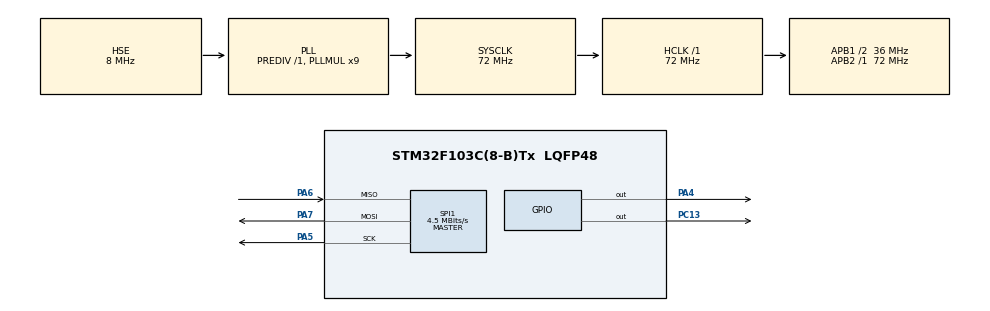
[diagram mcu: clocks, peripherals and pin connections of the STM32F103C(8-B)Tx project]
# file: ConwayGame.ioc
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Mcu.Family=STM32F1
RCC.PLLSourceVirtual=RCC_PLLSOURCE_HSE
PA6.Mode=Full_Duplex_Master
FREERTOS.Tasks01=defaultTask,24,128,StartDefaultTask,Default,NULL,Dynamic,NULL,NULL
PA7.Mode=Full_Duplex_Master
PD1-OSC_OUT.Mode=HSE-External-Oscillator
SPI1.VirtualType=VM_MASTER
PC13-TAMPER-RTC.Signal=GPIO_Output
NVIC.TIM1_UP_IRQn=true\:0\:0\:false\:false\:true\:false\:false\:true
PD0-OSC_IN.Signal=RCC_OSC_IN
RCC.APB1CLKDivider=RCC_HCLK_DIV2
RCC.SYSCLKSource=RCC_SYSCLKSOURCE_PLLCLK
ProjectManager.StackSize=0x400
VP_FREERTOS_VS_CMSIS_V2.Mode=CMSIS_V2
PD1-OSC_OUT.Signal=RCC_OSC_OUT
PA13.Signal=SYS_JTMS-SWDIO
ProjectManager.TargetToolchain=STM32CubeIDE
SPI1.Direction=SPI_DIRECTION_2LINES
RCC.HCLKFreq_Value=72000000
RCC.APB2TimFreq_Value=72000000
SPI1.CalculateBaudRate=4.5 MBits/s
RCC.USBFreq_Value=72000000
RCC.AHBFreq_Value=72000000
PD0-OSC_IN.Mode=HSE-External-Oscillator
PA5.Signal=SPI1_SCK
board=custom
RCC.PLLMUL=RCC_PLL_MUL9
RCC.APB2Freq_Value=72000000
SPI1.Mode=SPI_MODE_MASTER
PA14.Mode=Serial_Wire
VP_SYS_VS_tim1.Mode=TIM1
SPI1.DataSize=SPI_DATASIZE_16BIT
PA13.Mode=Serial_Wire
Mcu.Name=STM32F103C(8-B)Tx
FREERTOS.configTOTAL_HEAP_SIZE=4096
PA4.Signal=GPIO_Output
RCC.SYSCLKFreq_VALUE=72000000
Mcu.Package=LQFP48
PA6.Signal=SPI1_MISO
NVIC.TimeBase=TIM1_UP_IRQn
NVIC.TimeBaseIP=TIM1
PA14.Signal=SYS_JTCK-SWCLK
ProjectManager.HeapSize=0x200
NVIC.PriorityGroup=NVIC_PRIORITYGROUP_4
RCC.APB1TimFreq_Value=72000000
RCC.APB1Freq_Value=36000000
SPI1.BaudRatePrescaler=SPI_BAUDRATEPRESCALER_16
PA5.Mode=Full_Duplex_Master
PA7.Signal=SPI1_MOSI

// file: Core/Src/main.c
/* USER CODE BEGIN Header */
/**
 ******************************************************************************
 * @file           : main.c
 * @brief          : Main program body
 ******************************************************************************
 * @attention
 *
 * <h2><center>&copy; Copyright (c) 2021 STMicroelectronics.
 * All rights reserved.</center></h2>
 *
 * This software component is licensed by ST under BSD 3-Clause license,
 * the "License"; You may not use this file except in compliance with the
 * License. You may obtain a copy of the License at:
 *                        opensource.org/licenses/BSD-3-Clause
 *
 ******************************************************************************
 */
/* USER CODE END Header */

#include "main.h"
#include "cmsis_os.h"
#include "FreeRTOS.h"
#include "task.h"
#include "max7219.h"
#include "logic.h"
#include "semphr.h"

SPI_HandleTypeDef hspi1;

uint8_t present[8];
uint8_t future[8];

//osThreadId_t defaultTaskHandle;
/* USER CODE BEGIN PV */
SemaphoreHandle_t sem_start;
SemaphoreHandle_t sem_next;

/* USER CODE END PV */

void SystemClock_Config(void);
static void MX_GPIO_Init(void);
static void MX_SPI1_Init(void);
void StartDefaultTask(void *argument);

/* USER CODE BEGIN 0 */
uint8_t compare(uint8_t *p, uint8_t *f) {
	uint8_t i = 0;
	uint8_t eq = 1;
	for (i = 0; i < 8; i++) {
		if (p[i] != f[i]) {
			eq = 0;
		}
		p[i] = f[i];		//Actualizo el estado
	}
	return (eq);			//Invierto para tener logica +
}
void tarea_generar_estado_inicial(void *p) {
	uint8_t q = 0;
	for (q = 0; q < 8; q++)
		present[q] = (xor32() & 0xFF);

	for (;;) {
		xSemaphoreGive(sem_start);
		if (xSemaphoreTake( sem_next, portMAX_DELAY) == pdTRUE) {
			if (compare(present, future)) {
				for (q = 0; q < 8; q++)
					present[q] = (xor32() & 0xFF);
			}
		}

		vTaskDelay(1 / portTICK_RATE_MS);
	}
}
/*
 * Por los semaforos me aseguro que:
 * --> La 1° evolución ocurra luego de generar el numero aleatorio
 * --> Evoluciono después de comparar
 * --> Comparo después de evolucionar
 *
 * Con eso ya me alcanza porque cuando muero
 * Lo último que hice fue comparar, ahí genero mi nuevo numero aleatorio
 * Y evoluciono después de comparar
 */
void tarea_evolucionar_estado(void *p) {
	uint8_t q = 0;
	portTickType xLastWakeTime;
	xLastWakeTime = xTaskGetTickCount();

	for (;;) {
		//xSemaphoreGive(sem_next);
		if (xSemaphoreTake( sem_start, portMAX_DELAY) == pdTRUE) {
			conway(present, future);
			for (q = 0; q < 8; q++){
				dibujar_max7219(present);
				dibujar_max7219(present);
				dibujar_max7219(present);
				dibujar_max7219(present);
			}
			xSemaphoreGive(sem_next);	// Aviso que compare

			vTaskDelayUntil(&xLastWakeTime, 500 / portTICK_RATE_MS);
		}
	}
}
/* USER CODE END 0 */

int main(void) {

	/* MCU Configuration--------------------------------------------------------*/

	/* Reset of all peripherals, Initializes the Flash interface and the Systick. */
	HAL_Init();

	/* Configure the system clock */
	SystemClock_Config();

	/* Initialize all configured peripherals */
	MX_GPIO_Init();
	MX_SPI1_Init();
	/* USER CODE BEGIN 2 */
	inicializar_max7219(&hspi1, GPIOA, GPIO_PIN_4); // Inicializo la matriz
	/* USER CODE END 2 */

	osKernelInitialize();

	/* USER CODE BEGIN RTOS_SEMAPHORES */
	/* add semaphores, ... */
	sem_start = xSemaphoreCreateBinary();
	sem_next = xSemaphoreCreateBinary();
	/* USER CODE END RTOS_SEMAPHORES */

	/* Create the thread(s) */

	xTaskCreate(tarea_evolucionar_estado, "evolucionar",
	configMINIMAL_STACK_SIZE, NULL,
	tskIDLE_PRIORITY + 1,
	NULL);
	xTaskCreate(tarea_generar_estado_inicial, "generar",
	configMINIMAL_STACK_SIZE, NULL,
	tskIDLE_PRIORITY + 1,
	NULL);
	/* definition and creation of defaultTask */
//  const osThreadAttr_t defaultTask_attributes = {
//    .name = "defaultTask",
//    .priority = (osPriority_t) osPriorityNormal,
//    .stack_size = 128
//  };
//  defaultTaskHandle = osThreadNew(StartDefaultTask, NULL, &defaultTask_attributes);

	/* Start scheduler */
	osKernelStart();

	/* We should never get here as control is now taken by the scheduler */

	/* Infinite loop */
	while (1) {

	}
}

void SystemClock_Config(void) {
	RCC_OscInitTypeDef RCC_OscInitStruct = { 0 };
	RCC_ClkInitTypeDef RCC_ClkInitStruct = { 0 };

	/** Initializes the CPU, AHB and APB busses clocks
	 */
	RCC_OscInitStruct.OscillatorType = RCC_OSCILLATORTYPE_HSE;
	RCC_OscInitStruct.HSEState = RCC_HSE_ON;
	RCC_OscInitStruct.HSEPredivValue = RCC_HSE_PREDIV_DIV1;
	RCC_OscInitStruct.HSIState = RCC_HSI_ON;
	RCC_OscInitStruct.PLL.PLLState = RCC_PLL_ON;
	RCC_OscInitStruct.PLL.PLLSource = RCC_PLLSOURCE_HSE;
	RCC_OscInitStruct.PLL.PLLMUL = RCC_PLL_MUL9;
	if (HAL_RCC_OscConfig(&RCC_OscInitStruct) != HAL_OK) {
		Error_Handler();
	}
	/** Initializes the CPU, AHB and APB busses clocks
	 */
	RCC_ClkInitStruct.ClockType = RCC_CLOCKTYPE_HCLK | RCC_CLOCKTYPE_SYSCLK
			| RCC_CLOCKTYPE_PCLK1 | RCC_CLOCKTYPE_PCLK2;
	RCC_ClkInitStruct.SYSCLKSource = RCC_SYSCLKSOURCE_PLLCLK;
	RCC_ClkInitStruct.AHBCLKDivider = RCC_SYSCLK_DIV1;
	RCC_ClkInitStruct.APB1CLKDivider = RCC_HCLK_DIV2;
	RCC_ClkInitStruct.APB2CLKDivider = RCC_HCLK_DIV1;

	if (HAL_RCC_ClockConfig(&RCC_ClkInitStruct, FLASH_LATENCY_2) != HAL_OK) {
		Error_Handler();
	}
}

static void MX_SPI1_Init(void) {

	/* SPI1 parameter configuration*/
	hspi1.Instance = SPI1;
	hspi1.Init.Mode = SPI_MODE_MASTER;
	hspi1.Init.Direction = SPI_DIRECTION_2LINES;
	hspi1.Init.DataSize = SPI_DATASIZE_16BIT;
	hspi1.Init.CLKPolarity = SPI_POLARITY_LOW;
	hspi1.Init.CLKPhase = SPI_PHASE_1EDGE;
	hspi1.Init.NSS = SPI_NSS_SOFT;
	hspi1.Init.BaudRatePrescaler = SPI_BAUDRATEPRESCALER_16;
	hspi1.Init.FirstBit = SPI_FIRSTBIT_MSB;
	hspi1.Init.TIMode = SPI_TIMODE_DISABLE;
	hspi1.Init.CRCCalculation = SPI_CRCCALCULATION_DISABLE;
	hspi1.Init.CRCPolynomial = 10;
	if (HAL_SPI_Init(&hspi1) != HAL_OK) {
		Error_Handler();
	}

}

static void MX_GPIO_Init(void) {
	GPIO_InitTypeDef GPIO_InitStruct = { 0 };

	/* GPIO Ports Clock Enable */
	__HAL_RCC_GPIOC_CLK_ENABLE();
	__HAL_RCC_GPIOD_CLK_ENABLE();
	__HAL_RCC_GPIOA_CLK_ENABLE();

	/*Configure GPIO pin Output Level */
	HAL_GPIO_WritePin(GPIOC, GPIO_PIN_13, GPIO_PIN_RESET);

	/*Configure GPIO pin Output Level */
	HAL_GPIO_WritePin(GPIOA, GPIO_PIN_4, GPIO_PIN_RESET);

	/*Configure GPIO pin : PC13 */
	GPIO_InitStruct.Pin = GPIO_PIN_13;
	GPIO_InitStruct.Mode = GPIO_MODE_OUTPUT_PP;
	GPIO_InitStruct.Pull = GPIO_NOPULL;
	GPIO_InitStruct.Speed = GPIO_SPEED_FREQ_LOW;
	HAL_GPIO_Init(GPIOC, &GPIO_InitStruct);

	/*Configure GPIO pin : PA4 */
	GPIO_InitStruct.Pin = GPIO_PIN_4;
	GPIO_InitStruct.Mode = GPIO_MODE_OUTPUT_PP;
	GPIO_InitStruct.Pull = GPIO_NOPULL;
	GPIO_InitStruct.Speed = GPIO_SPEED_FREQ_LOW;
	HAL_GPIO_Init(GPIOA, &GPIO_InitStruct);

}

void StartDefaultTask(void *argument) {
	for (;;) {
		osDelay(1);
	}
}

void HAL_TIM_PeriodElapsedCallback(TIM_HandleTypeDef *htim) {
	if (htim->Instance == TIM1) {
		HAL_IncTick();
	}
}

void Error_Handler(void) {
	__disable_irq();
	while (1) {
	}
}

/************************ (C) COPYRIGHT STMicroelectronics *****END OF FILE****/
